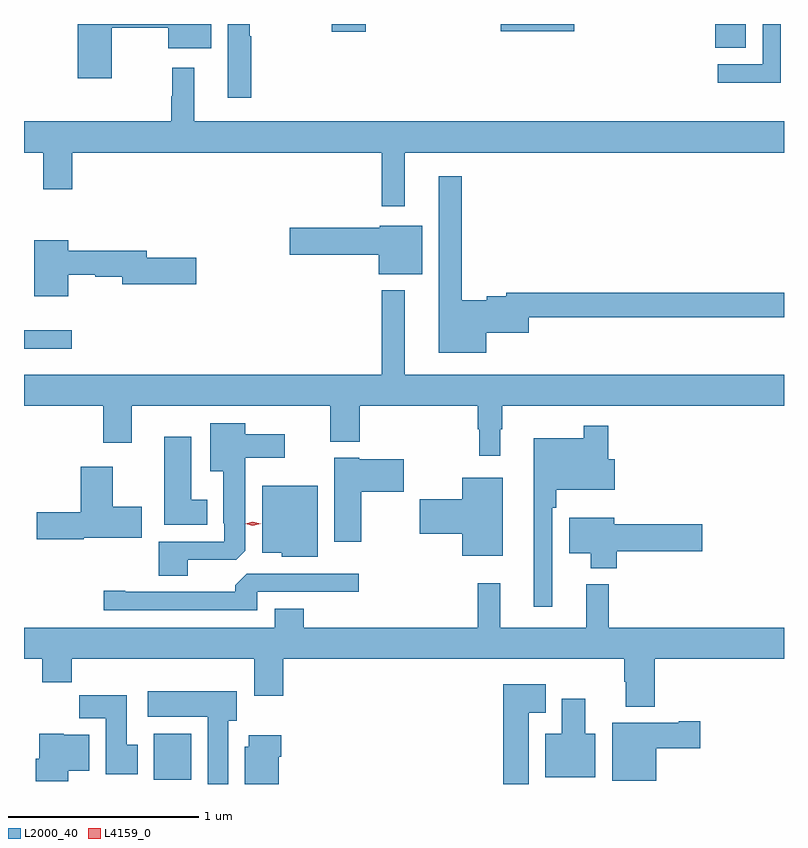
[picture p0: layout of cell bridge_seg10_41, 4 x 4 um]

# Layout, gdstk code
import gdstk
lib = gdstk.Library(unit=1e-6, precision=1e-09)
def R(c, l, rs):  # rectangles x0, y0, x1, y1
    for r in rs: c.add(gdstk.rectangle(r[:2], r[2:], *l))
def P(c, l, *ps):  # polygons
    for p in ps: c.add(gdstk.Polygon(p, *l))
L2000_40 = (2000, 40)
L4159_0 = (4159, 0)

bridge_seg10_41 = lib.new_cell('bridge_seg10_41')
R(bridge_seg10_41, L2000_40, [(924.527,1301.012,924.724,1301.254), (923.844,1303.28,924.094,1303.377), (927.482,1304.863,927.643,1304.989), (925.465,1304.949,925.643,1304.989), (926.352,1304.95,926.74,1304.989)])
P(bridge_seg10_41, L2000_40, [(924.306,1304.968),(924.602,1304.968),(924.602,1304.861),(924.829,1304.861),(924.829,1304.989),(924.128,1304.989),(924.128,1304.703),(924.306,1304.703)],
  [(927.828,1304.989),(927.732,1304.989),(927.732,1304.778),(927.495,1304.778),(927.495,1304.681),(927.828,1304.681)],
  [(925.039,1304.925),(925.031,1304.925),(925.031,1304.989),(924.917,1304.989),(924.917,1304.601),(925.039,1304.601)],
  [(925.849,1304.312),(927.844,1304.312),(927.844,1304.476),(924.739,1304.476),(924.739,1304.758),(924.625,1304.758),(924.625,1304.609),(924.618,1304.609),(924.618,1304.476),(923.844,1304.476),(923.844,1304.312),(923.945,1304.312),(923.945,1304.118),(924.098,1304.118),(924.098,1304.312),(925.728,1304.312),(925.728,1304.031),(925.849,1304.031)],
  [(926.278,1303.364),(926.5,1303.364),(926.5,1303.446),(927.844,1303.446),(927.844,1303.574),(926.383,1303.574),(926.383,1303.555),(926.279,1303.555),(926.279,1303.535),(926.149,1303.535),(926.149,1304.188),(926.027,1304.188),(926.027,1303.259),(926.278,1303.259)],
  [(925.939,1303.927),(925.716,1303.927),(925.716,1303.917),(925.242,1303.917),(925.242,1303.775),(925.712,1303.775),(925.712,1303.673),(925.939,1303.673)],
  [(924.076,1303.668),(924.219,1303.668),(924.219,1303.66),(924.362,1303.66),(924.362,1303.618),(924.751,1303.618),(924.751,1303.76),(924.49,1303.76),(924.49,1303.796),(924.076,1303.796),(924.076,1303.852),(923.897,1303.852),(923.897,1303.556),(924.076,1303.556)],
  [(923.844,1302.98),(924.26,1302.98),(924.26,1302.786),(924.412,1302.786),(924.412,1302.98),(925.457,1302.98),(925.457,1302.791),(925.61,1302.791),(925.61,1302.98),(926.233,1302.98),(926.233,1302.857),(926.241,1302.857),(926.241,1302.717),(926.35,1302.717),(926.35,1302.857),(926.362,1302.857),(926.362,1302.98),(927.844,1302.98),(927.844,1303.144),(925.849,1303.144),(925.849,1303.588),(925.728,1303.588),(925.728,1303.144),(923.844,1303.144)],
  [(924.706,1302.168),(924.96,1302.168),(925.009,1302.217),(925.009,1302.707),(925.216,1302.707),(925.216,1302.829),(925.009,1302.829),(925.009,1302.889),(924.824,1302.889),(924.824,1302.635),(924.893,1302.635),(924.893,1302.361),(924.897,1302.361),(924.897,1302.264),(924.554,1302.264),(924.554,1302.085),(924.706,1302.085)],
  [(926.625,1302.443),(926.645,1302.443),(926.645,1302.539),(926.953,1302.539),(926.953,1302.697),(926.918,1302.697),(926.918,1302.874),(926.79,1302.874),(926.79,1302.808),(926.528,1302.808),(926.528,1301.922),(926.625,1301.922)],
  [(924.808,1302.484),(924.724,1302.484),(924.724,1302.817),(924.581,1302.817),(924.581,1302.353),(924.808,1302.353)],
  [(925.62,1302.527),(925.843,1302.527),(925.843,1302.697),(925.608,1302.697),(925.608,1302.706),(925.478,1302.706),(925.478,1302.264),(925.62,1302.264)],
  [(924.159,1302.284),(924.463,1302.284),(924.463,1302.447),(924.31,1302.447),(924.31,1302.658),(924.143,1302.658),(924.143,1302.419),(923.91,1302.419),(923.91,1302.277),(924.159,1302.277)],
  [(926.365,1302.601),(926.15,1302.601),(926.15,1302.488),(925.926,1302.488),(925.926,1302.305),(926.15,1302.305),(926.15,1302.191),(926.365,1302.191)],
  [(925.39,1302.559),(925.097,1302.559),(925.097,1302.206),(925.2,1302.206),(925.2,1302.185),(925.39,1302.185)],
  [(926.963,1302.214),(927.415,1302.214),(927.415,1302.356),(926.95,1302.356),(926.95,1302.391),(926.714,1302.391),(926.714,1302.203),(926.828,1302.203),(926.828,1302.125),(926.963,1302.125)],
  [(925.071,1302),(925.606,1302),(925.606,1302.096),(925.017,1302.096),(924.956,1302.034),(924.956,1302),(924.376,1302),(924.376,1302.005),(924.264,1302.005),(924.264,1301.904),(925.071,1301.904)],
  [(927.164,1301.648),(927.844,1301.648),(927.844,1301.812),(926.921,1301.812),(926.921,1302.04),(926.804,1302.04),(926.804,1301.812),(926.351,1301.812),(926.351,1302.046),(926.233,1302.046),(926.233,1301.812),(925.316,1301.812),(925.316,1301.911),(925.163,1301.911),(925.163,1301.812),(923.844,1301.812),(923.844,1301.648),(923.939,1301.648),(923.939,1301.524),(924.095,1301.524),(924.095,1301.648),(925.055,1301.648),(925.055,1301.454),(925.208,1301.454),(925.208,1301.648),(927.004,1301.648),(927.004,1301.528),(927.011,1301.528),(927.011,1301.396),(927.164,1301.396)],
  [(926.5,1301.363),(926.59,1301.363),(926.59,1301.515),(926.366,1301.515),(926.366,1300.989),(926.5,1300.989)],
  [(924.919,1301.322),(924.964,1301.322),(924.964,1301.476),(924.495,1301.476),(924.495,1301.342),(924.812,1301.342),(924.812,1300.989),(924.919,1300.989)],
  [(924.442,1301.196),(924.385,1301.196),(924.385,1301.455),(924.136,1301.455),(924.136,1301.336),(924.275,1301.336),(924.275,1301.04),(924.442,1301.04)],
  [(926.851,1301.254),(926.797,1301.254),(926.797,1301.437),(926.675,1301.437),(926.675,1301.254),(926.588,1301.254),(926.588,1301.024),(926.851,1301.024)],
  [(927.172,1301.177),(927.403,1301.177),(927.403,1301.319),(927.29,1301.319),(927.29,1301.311),(926.939,1301.311),(926.939,1301.006),(927.172,1301.006)],
  [(924.076,1301.06),(924.187,1301.06),(924.187,1301.248),(924.054,1301.248),(924.054,1301.254),(923.924,1301.254),(923.924,1301.121),(923.906,1301.121),(923.906,1301.003),(924.076,1301.003)],
  [(925.186,1301.132),(925.199,1301.132),(925.199,1301.245),(925.028,1301.245),(925.028,1301.184),(925.007,1301.184),(925.007,1300.989),(925.186,1300.989)])
P(bridge_seg10_41, L4159_0, [(925.049,1302.349),(925.008,1302.359),(925.008,1302.359),(925.008,1302.359),(925.049,1302.369),(925.09,1302.359),(925.09,1302.359),(925.09,1302.359)])

lib.write_gds('bridge_seg10_41.gds')
